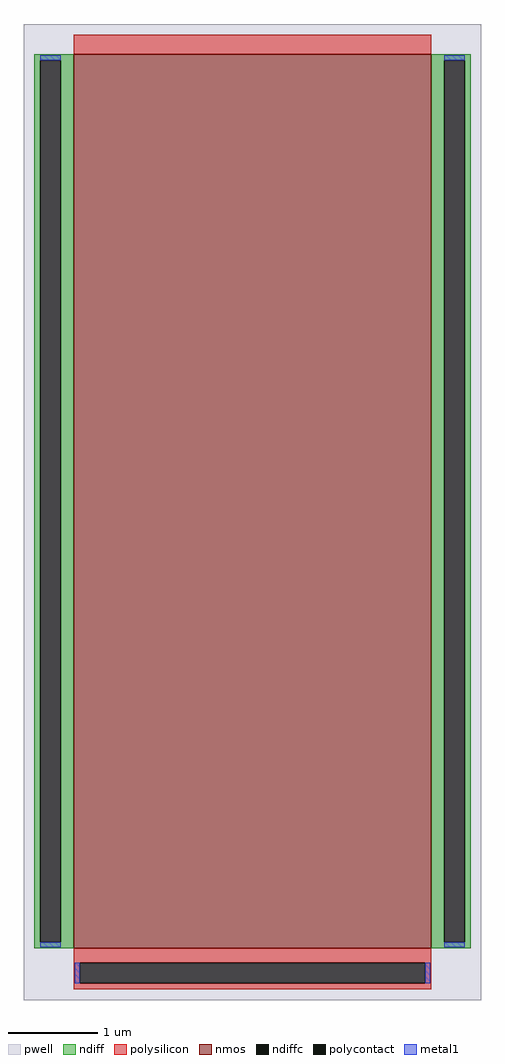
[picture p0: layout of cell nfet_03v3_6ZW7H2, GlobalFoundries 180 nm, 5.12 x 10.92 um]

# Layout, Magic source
magic
tech gf180mcuD
magscale 1 10
<< pwell >>
rect -512 -1092 512 1092
<< nmos >>
rect -400 -976 400 1024
<< ndiff >>
rect -488 1011 -400 1024
rect -488 -963 -475 1011
rect -429 -963 -400 1011
rect -488 -976 -400 -963
rect 400 1011 488 1024
rect 400 -963 429 1011
rect 475 -963 488 1011
rect 400 -976 488 -963
<< ndiffc >>
rect -475 -963 -429 1011
rect 429 -963 475 1011
<< polysilicon >>
rect -400 1024 400 1068
rect -400 -1009 400 -976
rect -400 -1055 -387 -1009
rect 387 -1055 400 -1009
rect -400 -1068 400 -1055
<< polycontact >>
rect -387 -1055 387 -1009
<< metal1 >>
rect -475 1011 -429 1022
rect -475 -974 -429 -963
rect 429 1011 475 1022
rect 429 -974 475 -963
rect -398 -1055 -387 -1009
rect 387 -1055 398 -1009
<< properties >>
string gencell nfet_03v3
string library gf180mcu
string parameters w 10 l 4 m 1 nf 1 diffcov 100 polycov 100 guard 0 glc 0 grc 0 gtc 0 gbc 0 tbcov 100 rlcov 100 topc 0 botc 1 poverlap 0 doverlap 1 lmin 0.28 wmin 0.22 class mosfet full_metal 0 compatible {nfet_03v3 nfet_05v0 nfet_06v0 nfet_06v0_nvt}
<< end >>
